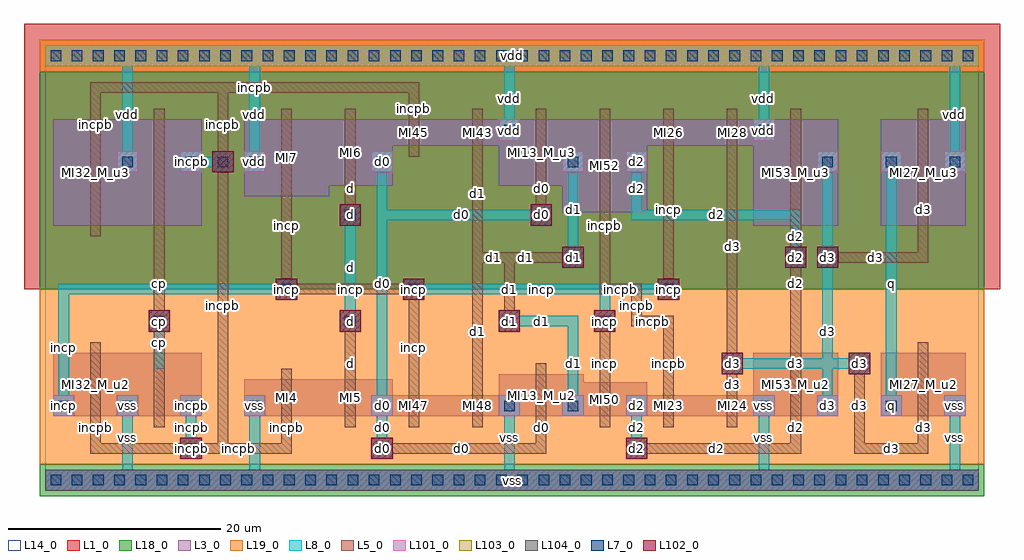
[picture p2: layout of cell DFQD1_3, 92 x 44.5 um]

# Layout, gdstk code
import gdstk
lib = gdstk.Library(unit=1e-6, precision=1e-09)
def R(c, l, rs):  # rectangles x0, y0, x1, y1
    for r in rs: c.add(gdstk.rectangle(r[:2], r[2:], *l))
def A(c, l, x, y, w, h, nx, ny, dx, dy):  # array of equal rectangles
    R(c, l, [(x+i*dx, y+j*dy, x+i*dx+w, y+j*dy+h) for i in range(nx) for j in range(ny)])
L1_0 = (1, 0)
L3_0 = (3, 0)
L5_0 = (5, 0)
L7_0 = (7, 0)
L8_0 = (8, 0)
L13_0 = (13, 0)
L14_0 = (14, 0)
L18_0 = (18, 0)
L19_0 = (19, 0)
L101_0 = (101, 0)
L102_0 = (102, 0)
L103_0 = (103, 0)
L104_0 = (104, 0)

dfqd1_3 = lib.new_cell('DFQD1_3')
R(dfqd1_3, L1_0, [(-2,18,90,43)])
A(dfqd1_3, L3_0, 0.75, 6, 2, 2, 4, 1, 6, 0)
A(dfqd1_3, L3_0, 42.75, 6, 2, 2, 3, 1, 6, 0)
A(dfqd1_3, L3_0, 66.75, 6, 2, 2, 4, 1, 6, 0)
A(dfqd1_3, L3_0, 6.75, 29, 2, 2, 3, 1, 6, 0)
A(dfqd1_3, L3_0, 72.75, 29, 2, 2, 3, 1, 6, 0)
R(dfqd1_3, L3_0, [(0,-1,88,1), (0,-1,88,1), (0.75,6,8.75,12), (6.75,6,14.75,12), (18.75,6,26.75,9.5), (24.75,6,32.75,9.5), (30.75,6,38.75,8), (30.75,6,32.75,8), (36.75,6,44.75,8), (42.75,6,50.75,10), (48.75,6,56.75,9.25), (54.75,6,62.75,8), (60.75,6,68.75,8), (66.75,6,74.75,12), (78.75,6,86.75,12), (0.75,24,8.75,34), (6.75,24,14.75,34), (66.75,24,74.75,34), (78.75,24,86.75,34), (48.75,25.25,56.75,34), (18.75,26.75,26.75,34), (24.75,27.75,32.75,34), (42.75,27.75,50.75,34), (30.75,29,32.75,31), (48.75,29,50.75,31), (54.75,29,56.75,31), (30.75,31.5,38.75,34), (36.75,31.5,44.75,34), (54.75,31.5,62.75,34), (60.75,31.5,68.75,34), (42.75,32,44.75,34), (66.75,32,68.75,34), (0,39,88,41), (0,39,88,41)])
A(dfqd1_3, L5_0, 22.25, 2.5, 1, 5, 3, 1, 24, 0)
R(dfqd1_3, L5_0, [(12.75,2,14.75,4), (30.75,2,32.75,4), (54.75,2,56.75,4), (4.25,2.5,5.25,7.5), (4.25,2.5,17.25,3.5), (13.25,2.5,23.25,3.5), (16.25,2.5,17.25,30.5), (31.25,2.5,47.25,3.5), (55.25,2.5,71.25,3.5), (76.25,2.5,77.25,11.5), (76.25,2.5,83.25,3.5), (82.25,2.5,83.25,7.5), (4.25,5,5.25,13), (10.25,5,11.25,13), (22.25,5,23.25,10.5), (28.25,5,29.25,10.5), (34.25,5,35.25,9), (40.25,5,41.25,9), (46.25,5,47.25,11), (52.25,5,53.25,10.25), (58.25,5,59.25,9), (64.25,5,65.25,9), (70.25,5,71.25,13), (82.25,5,83.25,13), (10.25,6.5,11.25,30.5), (28.25,6.5,29.25,15.5), (34.25,6.5,35.25,18.5), (40.25,6.5,41.25,21.5), (52.25,6.5,53.25,15.5), (58.25,6.5,59.25,15.5), (64.25,6.5,65.25,11.5), (70.25,6.5,71.25,30.5), (63.75,10,65.75,12), (75.75,10,77.75,12), (64.25,10.5,65.25,33.5), (9.75,14,11.75,16), (27.75,14,29.75,16), (42.75,14,44.75,16), (51.75,14,53.75,16), (43.25,14.5,44.25,21.5), (55.25,14.5,56.25,18.5), (55.25,14.5,59.25,15.5), (21.75,17,23.75,19), (33.75,17,35.75,19), (57.75,17,59.75,19), (22.25,17.5,23.25,30.5), (22.25,17.5,35.25,18.5), (52.25,17.5,56.25,18.5), (52.25,17.5,53.25,30.5), (58.25,17.5,59.25,33.5), (48.75,20,50.75,22), (69.75,20,71.75,22), (72.75,20,74.75,22), (40.25,20.5,50.25,21.5), (40.25,20.5,44.25,21.5), (40.25,20.5,41.25,33.5), (73.25,20.5,83.25,21.5), (82.25,20.5,83.25,30.5), (4.25,23,5.25,35), (10.25,23,11.25,35), (70.25,23,71.25,35), (82.25,23,83.25,35), (27.75,24,29.75,26), (45.75,24,47.75,26), (52.25,24.25,53.25,35), (28.25,24.5,29.25,30.5), (46.25,24.5,47.25,30.5), (22.25,25.75,23.25,35), (28.25,26.75,29.25,35), (46.25,26.75,47.25,35), (15.75,29,17.75,31), (4.25,29.5,5.25,37.5), (16.25,29.5,17.25,37.5), (34.25,30.5,35.25,35), (40.25,30.5,41.25,35), (58.25,30.5,59.25,35), (64.25,30.5,65.25,35), (34.25,32.5,35.25,37.5), (4.25,36.5,35.25,37.5)])
A(dfqd1_3, L7_0, 0.5, -0.5, 1, 1, 44, 2, 2, 40)
A(dfqd1_3, L7_0, 1.25, 6.5, 1, 1, 4, 1, 6, 0)
A(dfqd1_3, L7_0, 43.25, 6.5, 1, 1, 3, 1, 6, 0)
A(dfqd1_3, L7_0, 67.25, 6.5, 1, 1, 4, 1, 6, 0)
A(dfqd1_3, L7_0, 13.25, 29.5, 1, 1, 3, 1, 3, 0)
A(dfqd1_3, L7_0, 73.25, 29.5, 1, 1, 3, 1, 6, 0)
R(dfqd1_3, L7_0, [(13.25,2.5,14.25,3.5), (31.25,2.5,32.25,3.5), (55.25,2.5,56.25,3.5), (31.25,6.5,32.25,7.5), (64.25,10.5,65.25,11.5), (76.25,10.5,77.25,11.5), (10.25,14.5,11.25,15.5), (28.25,14.5,29.25,15.5), (43.25,14.5,44.25,15.5), (52.25,14.5,53.25,15.5), (22.25,17.5,23.25,18.5), (34.25,17.5,35.25,18.5), (58.25,17.5,59.25,18.5), (49.25,20.5,50.25,21.5), (70.25,20.5,71.25,21.5), (73.25,20.5,74.25,21.5), (28.25,24.5,29.25,25.5), (46.25,24.5,47.25,25.5), (7.25,29.5,8.25,30.5), (31.25,29.5,32.25,30.5), (49.25,29.5,50.25,30.5), (55.25,29.5,56.25,30.5), (43.25,32.5,44.25,33.5), (67.25,32.5,68.25,33.5)])
A(dfqd1_3, L8_0, 19.25, 0.5, 1, 7, 3, 1, 24, 0)
A(dfqd1_3, L8_0, 0.75, 6, 2, 2, 4, 1, 6, 0)
A(dfqd1_3, L8_0, 42.75, 6, 2, 2, 3, 1, 6, 0)
A(dfqd1_3, L8_0, 66.75, 6, 2, 2, 4, 1, 6, 0)
A(dfqd1_3, L8_0, 12.75, 29, 2, 2, 3, 1, 3, 0)
A(dfqd1_3, L8_0, 72.75, 29, 2, 2, 3, 1, 6, 0)
R(dfqd1_3, L8_0, [(0,-1,88,1), (7.25,0.5,8.25,7.5), (85.25,0.5,86.25,7.5), (12.75,2,14.75,4), (30.75,2,32.75,4), (54.75,2,56.75,4), (13.25,2.5,14.25,7.5), (31.25,2.5,32.25,7.5), (55.25,2.5,56.25,7.5), (30.75,6,32.75,8), (1.25,6.5,2.25,18.5), (31.25,6.5,32.25,30.5), (49.25,6.5,50.25,15.5), (73.25,6.5,74.25,21.5), (79.25,6.5,80.25,30.5), (63.75,10,65.75,12), (75.75,10,77.75,12), (10.25,10.5,11.25,15.5), (64.25,10.5,77.25,11.5), (73.25,10.5,74.25,30.5), (9.75,14,11.75,16), (27.75,14,29.75,16), (42.75,14,44.75,16), (51.75,14,53.75,16), (28.25,14.5,29.25,25.5), (43.25,14.5,50.25,15.5), (52.25,14.5,53.25,18.5), (21.75,17,23.75,19), (33.75,17,35.75,19), (57.75,17,59.75,19), (1.25,17.5,23.25,18.5), (34.25,17.5,59.25,18.5), (48.75,20,50.75,22), (69.75,20,71.75,22), (72.75,20,74.75,22), (49.25,20.5,50.25,30.5), (70.25,20.5,71.25,25.5), (27.75,24,29.75,26), (45.75,24,47.75,26), (31.25,24.5,47.25,25.5), (55.25,24.5,71.25,25.5), (55.25,24.5,56.25,30.5), (6.75,29,8.75,31), (30.75,29,32.75,31), (48.75,29,50.75,31), (54.75,29,56.75,31), (7.25,29.5,8.25,39.5), (13.25,29.5,17.25,30.5), (19.25,29.5,20.25,39.5), (85.25,29.5,86.25,39.5), (42.75,32,44.75,34), (66.75,32,68.75,34), (43.25,32.5,44.25,39.5), (67.25,32.5,68.25,39.5), (0,39,88,41)])
R(dfqd1_3, L14_0, [(0,0,88,40)])
R(dfqd1_3, L18_0, [(-0.5,-1.5,88.5,1.5), (-0.5,18,88.5,38.5)])
R(dfqd1_3, L19_0, [(-0.5,1.5,88.5,18), (-0.5,38.5,88.5,41.5)])
A(dfqd1_3, L101_0, 0, -1, 2, 2, 44, 2, 2, 40)
A(dfqd1_3, L101_0, 0.75, 6, 2, 2, 4, 1, 6, 0)
A(dfqd1_3, L101_0, 42.75, 6, 2, 2, 3, 1, 6, 0)
A(dfqd1_3, L101_0, 66.75, 6, 2, 2, 4, 1, 6, 0)
A(dfqd1_3, L101_0, 6.75, 29, 2, 2, 3, 1, 6, 0)
A(dfqd1_3, L101_0, 72.75, 29, 2, 2, 3, 1, 6, 0)
R(dfqd1_3, L101_0, [(30.75,6,32.75,8), (30.75,29,32.75,31), (48.75,29,50.75,31), (54.75,29,56.75,31), (42.75,32,44.75,34), (66.75,32,68.75,34)])
R(dfqd1_3, L102_0, [(12.75,2,14.75,4), (30.75,2,32.75,4), (54.75,2,56.75,4), (63.75,10,65.75,12), (75.75,10,77.75,12), (9.75,14,11.75,16), (27.75,14,29.75,16), (42.75,14,44.75,16), (51.75,14,53.75,16), (21.75,17,23.75,19), (33.75,17,35.75,19), (57.75,17,59.75,19), (48.75,20,50.75,22), (69.75,20,71.75,22), (72.75,20,74.75,22), (27.75,24,29.75,26), (45.75,24,47.75,26), (15.75,29,17.75,31)])
R(dfqd1_3, L103_0, [(0,39,88,41)])
R(dfqd1_3, L104_0, [(0,-1,88,1)])
dfqd1_3.add(gdstk.FlexPath([(0.75,3),(86.75,3)], 0, ends="flush", simple_path=True, layer=13, datatype=0))  # L13_0
dfqd1_3.add(gdstk.FlexPath([(0.75,7),(86.75,7)], 0, ends="flush", simple_path=True, layer=13, datatype=0))  # L13_0
dfqd1_3.add(gdstk.FlexPath([(0.75,11),(86.75,11)], 0, ends="flush", simple_path=True, layer=13, datatype=0))  # L13_0
dfqd1_3.add(gdstk.FlexPath([(0.75,15),(86.75,15)], 0, ends="flush", simple_path=True, layer=13, datatype=0))  # L13_0
dfqd1_3.add(gdstk.FlexPath([(0.75,18),(86.75,18)], 0, ends="flush", simple_path=True, layer=13, datatype=0))  # L13_0
dfqd1_3.add(gdstk.FlexPath([(0.75,21),(86.75,21)], 0, ends="flush", simple_path=True, layer=13, datatype=0))  # L13_0
dfqd1_3.add(gdstk.FlexPath([(0.75,25),(86.75,25)], 0, ends="flush", simple_path=True, layer=13, datatype=0))  # L13_0
dfqd1_3.add(gdstk.FlexPath([(0.75,30),(86.75,30)], 0, ends="flush", simple_path=True, layer=13, datatype=0))  # L13_0
dfqd1_3.add(gdstk.FlexPath([(0.75,33),(86.75,33)], 0, ends="flush", simple_path=True, layer=13, datatype=0))  # L13_0
dfqd1_3.add(gdstk.FlexPath([(0.75,37),(86.75,37)], 0, ends="flush", simple_path=True, layer=13, datatype=0))  # L13_0
dfqd1_3.add(gdstk.FlexPath([(1.75,0.5),(1.75,39.5)], 0, ends="flush", simple_path=True, layer=13, datatype=0))  # L13_0
dfqd1_3.add(gdstk.FlexPath([(4.75,0.5),(4.75,39.5)], 0, ends="flush", simple_path=True, layer=13, datatype=0))  # L13_0
dfqd1_3.add(gdstk.FlexPath([(7.75,0.5),(7.75,39.5)], 0, ends="flush", simple_path=True, layer=13, datatype=0))  # L13_0
dfqd1_3.add(gdstk.FlexPath([(10.75,0.5),(10.75,39.5)], 0, ends="flush", simple_path=True, layer=13, datatype=0))  # L13_0
dfqd1_3.add(gdstk.FlexPath([(13.75,0.5),(13.75,39.5)], 0, ends="flush", simple_path=True, layer=13, datatype=0))  # L13_0
dfqd1_3.add(gdstk.FlexPath([(16.75,0.5),(16.75,39.5)], 0, ends="flush", simple_path=True, layer=13, datatype=0))  # L13_0
dfqd1_3.add(gdstk.FlexPath([(19.75,0.5),(19.75,39.5)], 0, ends="flush", simple_path=True, layer=13, datatype=0))  # L13_0
dfqd1_3.add(gdstk.FlexPath([(22.75,0.5),(22.75,39.5)], 0, ends="flush", simple_path=True, layer=13, datatype=0))  # L13_0
dfqd1_3.add(gdstk.FlexPath([(25.75,0.5),(25.75,39.5)], 0, ends="flush", simple_path=True, layer=13, datatype=0))  # L13_0
dfqd1_3.add(gdstk.FlexPath([(28.75,0.5),(28.75,39.5)], 0, ends="flush", simple_path=True, layer=13, datatype=0))  # L13_0
dfqd1_3.add(gdstk.FlexPath([(31.75,0.5),(31.75,39.5)], 0, ends="flush", simple_path=True, layer=13, datatype=0))  # L13_0
dfqd1_3.add(gdstk.FlexPath([(34.75,0.5),(34.75,39.5)], 0, ends="flush", simple_path=True, layer=13, datatype=0))  # L13_0
dfqd1_3.add(gdstk.FlexPath([(37.75,0.5),(37.75,39.5)], 0, ends="flush", simple_path=True, layer=13, datatype=0))  # L13_0
dfqd1_3.add(gdstk.FlexPath([(40.75,0.5),(40.75,39.5)], 0, ends="flush", simple_path=True, layer=13, datatype=0))  # L13_0
dfqd1_3.add(gdstk.FlexPath([(43.75,0.5),(43.75,39.5)], 0, ends="flush", simple_path=True, layer=13, datatype=0))  # L13_0
dfqd1_3.add(gdstk.FlexPath([(46.75,0.5),(46.75,39.5)], 0, ends="flush", simple_path=True, layer=13, datatype=0))  # L13_0
dfqd1_3.add(gdstk.FlexPath([(49.75,0.5),(49.75,39.5)], 0, ends="flush", simple_path=True, layer=13, datatype=0))  # L13_0
dfqd1_3.add(gdstk.FlexPath([(52.75,0.5),(52.75,39.5)], 0, ends="flush", simple_path=True, layer=13, datatype=0))  # L13_0
dfqd1_3.add(gdstk.FlexPath([(55.75,0.5),(55.75,39.5)], 0, ends="flush", simple_path=True, layer=13, datatype=0))  # L13_0
dfqd1_3.add(gdstk.FlexPath([(58.75,0.5),(58.75,39.5)], 0, ends="flush", simple_path=True, layer=13, datatype=0))  # L13_0
dfqd1_3.add(gdstk.FlexPath([(61.75,0.5),(61.75,39.5)], 0, ends="flush", simple_path=True, layer=13, datatype=0))  # L13_0
dfqd1_3.add(gdstk.FlexPath([(64.75,0.5),(64.75,39.5)], 0, ends="flush", simple_path=True, layer=13, datatype=0))  # L13_0
dfqd1_3.add(gdstk.FlexPath([(67.75,0.5),(67.75,39.5)], 0, ends="flush", simple_path=True, layer=13, datatype=0))  # L13_0
dfqd1_3.add(gdstk.FlexPath([(70.75,0.5),(70.75,39.5)], 0, ends="flush", simple_path=True, layer=13, datatype=0))  # L13_0
dfqd1_3.add(gdstk.FlexPath([(73.75,0.5),(73.75,39.5)], 0, ends="flush", simple_path=True, layer=13, datatype=0))  # L13_0
dfqd1_3.add(gdstk.FlexPath([(76.75,0.5),(76.75,39.5)], 0, ends="flush", simple_path=True, layer=13, datatype=0))  # L13_0
dfqd1_3.add(gdstk.FlexPath([(79.75,0.5),(79.75,39.5)], 0, ends="flush", simple_path=True, layer=13, datatype=0))  # L13_0
dfqd1_3.add(gdstk.FlexPath([(82.75,0.5),(82.75,39.5)], 0, ends="flush", simple_path=True, layer=13, datatype=0))  # L13_0
dfqd1_3.add(gdstk.FlexPath([(85.75,0.5),(85.75,39.5)], 0, ends="flush", simple_path=True, layer=13, datatype=0))  # L13_0
dfqd1_3.add(gdstk.Label('MI4', (22.75,7.75), layer=3, texttype=0))
dfqd1_3.add(gdstk.Label('MI23', (58.75,7), layer=3, texttype=0))
dfqd1_3.add(gdstk.Label('MI5', (28.75,7.75), layer=3, texttype=0))
dfqd1_3.add(gdstk.Label('MI47', (34.75,7), layer=3, texttype=0))
dfqd1_3.add(gdstk.Label('MI48', (40.75,7), layer=3, texttype=0))
dfqd1_3.add(gdstk.Label('MI24', (64.75,7), layer=3, texttype=0))
dfqd1_3.add(gdstk.Label('MI50', (52.75,7.625), layer=3, texttype=0))
dfqd1_3.add(gdstk.Label('MI32_M_u2', (4.75,9), layer=3, texttype=0))
dfqd1_3.add(gdstk.Label('MI31_M_u2', (10.75,9), layer=3, texttype=0))
dfqd1_3.add(gdstk.Label('MI27_M_u2', (82.75,9), layer=3, texttype=0))
dfqd1_3.add(gdstk.Label('MI53_M_u2', (70.75,9), layer=3, texttype=0))
dfqd1_3.add(gdstk.Label('MI13_M_u2', (46.75,8), layer=3, texttype=0))
dfqd1_3.add(gdstk.Label('MI6', (28.75,30.875), layer=3, texttype=0))
dfqd1_3.add(gdstk.Label('MI32_M_u3', (4.75,29), layer=3, texttype=0))
dfqd1_3.add(gdstk.Label('MI31_M_u3', (10.75,29), layer=3, texttype=0))
dfqd1_3.add(gdstk.Label('MI27_M_u3', (82.75,29), layer=3, texttype=0))
dfqd1_3.add(gdstk.Label('MI53_M_u3', (70.75,29), layer=3, texttype=0))
dfqd1_3.add(gdstk.Label('MI13_M_u3', (46.75,30.875), layer=3, texttype=0))
dfqd1_3.add(gdstk.Label('MI7', (22.75,30.375), layer=3, texttype=0))
dfqd1_3.add(gdstk.Label('MI52', (52.75,29.625), layer=3, texttype=0))
dfqd1_3.add(gdstk.Label('MI28', (64.75,32.75), layer=3, texttype=0))
dfqd1_3.add(gdstk.Label('MI26', (58.75,32.75), layer=3, texttype=0))
dfqd1_3.add(gdstk.Label('MI45', (34.75,32.75), layer=3, texttype=0))
dfqd1_3.add(gdstk.Label('MI43', (40.75,32.75), layer=3, texttype=0))
dfqd1_3.add(gdstk.Label('incpb', (13.75,7), layer=3, texttype=0))
dfqd1_3.add(gdstk.Label('incpb', (13.75,30), layer=3, texttype=0))
dfqd1_3.add(gdstk.Label('d2', (55.75,7), layer=3, texttype=0))
dfqd1_3.add(gdstk.Label('d2', (55.75,30), layer=3, texttype=0))
dfqd1_3.add(gdstk.Label('d0', (31.75,7), layer=3, texttype=0))
dfqd1_3.add(gdstk.Label('d0', (31.75,30), layer=3, texttype=0))
dfqd1_3.add(gdstk.Label('incp', (1.75,7), layer=3, texttype=0))
dfqd1_3.add(gdstk.Label('d1', (49.75,7), layer=3, texttype=0))
dfqd1_3.add(gdstk.Label('d1', (49.75,30), layer=3, texttype=0))
dfqd1_3.add(gdstk.Label('d3', (73.75,7), layer=3, texttype=0))
dfqd1_3.add(gdstk.Label('d3', (73.75,30), layer=3, texttype=0))
dfqd1_3.add(gdstk.Label('q', (79.75,7), layer=3, texttype=0))
dfqd1_3.add(gdstk.Label('q', (79.75,30), layer=3, texttype=0))
dfqd1_3.add(gdstk.Label('vss', (19.75,7), layer=3, texttype=0))
dfqd1_3.add(gdstk.Label('vss', (43.75,7), layer=3, texttype=0))
dfqd1_3.add(gdstk.Label('vss', (67.75,7), layer=3, texttype=0))
dfqd1_3.add(gdstk.Label('vss', (7.75,7), layer=3, texttype=0))
dfqd1_3.add(gdstk.Label('vss', (85.75,7), layer=3, texttype=0))
dfqd1_3.add(gdstk.Label('vdd', (7.75,30), layer=3, texttype=0))
dfqd1_3.add(gdstk.Label('vdd', (85.75,30), layer=3, texttype=0))
dfqd1_3.add(gdstk.Label('vdd', (67.75,33), layer=3, texttype=0))
dfqd1_3.add(gdstk.Label('vdd', (43.75,33), layer=3, texttype=0))
dfqd1_3.add(gdstk.Label('vdd', (19.75,30), layer=3, texttype=0))
dfqd1_3.add(gdstk.Label('incpb', (22.75,5), layer=5, texttype=0))
dfqd1_3.add(gdstk.Label('incpb', (18.25,3), layer=5, texttype=0))
dfqd1_3.add(gdstk.Label('incpb', (13.75,3), layer=5, texttype=0))
dfqd1_3.add(gdstk.Label('incpb', (16.75,16.5), layer=5, texttype=0))
dfqd1_3.add(gdstk.Label('incpb', (16.75,30), layer=5, texttype=0))
dfqd1_3.add(gdstk.Label('incpb', (58.75,11), layer=5, texttype=0))
dfqd1_3.add(gdstk.Label('incpb', (57.25,15), layer=5, texttype=0))
dfqd1_3.add(gdstk.Label('incpb', (55.75,16.5), layer=5, texttype=0))
dfqd1_3.add(gdstk.Label('incpb', (54.25,18), layer=5, texttype=0))
dfqd1_3.add(gdstk.Label('incpb', (52.75,24), layer=5, texttype=0))
dfqd1_3.add(gdstk.Label('incpb', (4.75,5), layer=5, texttype=0))
dfqd1_3.add(gdstk.Label('incpb', (10.75,3), layer=5, texttype=0))
dfqd1_3.add(gdstk.Label('incpb', (4.75,33.5), layer=5, texttype=0))
dfqd1_3.add(gdstk.Label('incpb', (19.75,37), layer=5, texttype=0))
dfqd1_3.add(gdstk.Label('incpb', (34.75,35), layer=5, texttype=0))
dfqd1_3.add(gdstk.Label('incpb', (16.75,33.5), layer=5, texttype=0))
dfqd1_3.add(gdstk.Label('d2', (55.75,3), layer=5, texttype=0))
dfqd1_3.add(gdstk.Label('d2', (63.25,3), layer=5, texttype=0))
dfqd1_3.add(gdstk.Label('d2', (70.75,5), layer=5, texttype=0))
dfqd1_3.add(gdstk.Label('d2', (70.75,18.5), layer=5, texttype=0))
dfqd1_3.add(gdstk.Label('d2', (70.75,21), layer=5, texttype=0))
dfqd1_3.add(gdstk.Label('d0', (31.75,3), layer=5, texttype=0))
dfqd1_3.add(gdstk.Label('d0', (39.25,3), layer=5, texttype=0))
dfqd1_3.add(gdstk.Label('d0', (46.75,5), layer=5, texttype=0))
dfqd1_3.add(gdstk.Label('d0', (46.75,25), layer=5, texttype=0))
dfqd1_3.add(gdstk.Label('d0', (46.75,27.5), layer=5, texttype=0))
dfqd1_3.add(gdstk.Label('d', (28.75,11), layer=5, texttype=0))
dfqd1_3.add(gdstk.Label('d', (28.75,15), layer=5, texttype=0))
dfqd1_3.add(gdstk.Label('d', (28.75,25), layer=5, texttype=0))
dfqd1_3.add(gdstk.Label('d', (28.75,27.5), layer=5, texttype=0))
dfqd1_3.add(gdstk.Label('incp', (34.75,12.5), layer=5, texttype=0))
dfqd1_3.add(gdstk.Label('incp', (28.75,18), layer=5, texttype=0))
dfqd1_3.add(gdstk.Label('incp', (22.75,24), layer=5, texttype=0))
dfqd1_3.add(gdstk.Label('incp', (34.75,18), layer=5, texttype=0))
dfqd1_3.add(gdstk.Label('incp', (58.75,18), layer=5, texttype=0))
dfqd1_3.add(gdstk.Label('incp', (58.75,25.5), layer=5, texttype=0))
dfqd1_3.add(gdstk.Label('incp', (52.75,11), layer=5, texttype=0))
dfqd1_3.add(gdstk.Label('incp', (52.75,15), layer=5, texttype=0))
dfqd1_3.add(gdstk.Label('incp', (22.75,18), layer=5, texttype=0))
dfqd1_3.add(gdstk.Label('d1', (40.75,14), layer=5, texttype=0))
dfqd1_3.add(gdstk.Label('d1', (45.25,21), layer=5, texttype=0))
dfqd1_3.add(gdstk.Label('d1', (49.75,21), layer=5, texttype=0))
dfqd1_3.add(gdstk.Label('d1', (40.75,27), layer=5, texttype=0))
dfqd1_3.add(gdstk.Label('d1', (43.75,15), layer=5, texttype=0))
dfqd1_3.add(gdstk.Label('d1', (43.75,18), layer=5, texttype=0))
dfqd1_3.add(gdstk.Label('d1', (42.25,21), layer=5, texttype=0))
dfqd1_3.add(gdstk.Label('d3', (64.75,9), layer=5, texttype=0))
dfqd1_3.add(gdstk.Label('d3', (64.75,11), layer=5, texttype=0))
dfqd1_3.add(gdstk.Label('d3', (76.75,11), layer=5, texttype=0))
dfqd1_3.add(gdstk.Label('d3', (76.75,7), layer=5, texttype=0))
dfqd1_3.add(gdstk.Label('d3', (79.75,3), layer=5, texttype=0))
dfqd1_3.add(gdstk.Label('d3', (82.75,5), layer=5, texttype=0))
dfqd1_3.add(gdstk.Label('d3', (64.75,22), layer=5, texttype=0))
dfqd1_3.add(gdstk.Label('d3', (73.75,21), layer=5, texttype=0))
dfqd1_3.add(gdstk.Label('d3', (78.25,21), layer=5, texttype=0))
dfqd1_3.add(gdstk.Label('d3', (82.75,25.5), layer=5, texttype=0))
dfqd1_3.add(gdstk.Label('cp', (10.75,18.5), layer=5, texttype=0))
dfqd1_3.add(gdstk.Label('cp', (10.75,15), layer=5, texttype=0))
dfqd1_3.add(gdstk.Label('incpb', (13.75,7), layer=101, texttype=0))
dfqd1_3.add(gdstk.Label('incpb', (13.75,30), layer=101, texttype=0))
dfqd1_3.add(gdstk.Label('d2', (55.75,7), layer=101, texttype=0))
dfqd1_3.add(gdstk.Label('d2', (55.75,30), layer=101, texttype=0))
dfqd1_3.add(gdstk.Label('d0', (31.75,7), layer=101, texttype=0))
dfqd1_3.add(gdstk.Label('d0', (31.75,30), layer=101, texttype=0))
dfqd1_3.add(gdstk.Label('incp', (1.75,7), layer=101, texttype=0))
dfqd1_3.add(gdstk.Label('d1', (49.75,7), layer=101, texttype=0))
dfqd1_3.add(gdstk.Label('d1', (49.75,30), layer=101, texttype=0))
dfqd1_3.add(gdstk.Label('d3', (73.75,7), layer=101, texttype=0))
dfqd1_3.add(gdstk.Label('d3', (73.75,30), layer=101, texttype=0))
dfqd1_3.add(gdstk.Label('q', (79.75,7), layer=101, texttype=0))
dfqd1_3.add(gdstk.Label('q', (79.75,30), layer=101, texttype=0))
dfqd1_3.add(gdstk.Label('vss', (19.75,7), layer=101, texttype=0))
dfqd1_3.add(gdstk.Label('vss', (43.75,7), layer=101, texttype=0))
dfqd1_3.add(gdstk.Label('vss', (67.75,7), layer=101, texttype=0))
dfqd1_3.add(gdstk.Label('vss', (7.75,7), layer=101, texttype=0))
dfqd1_3.add(gdstk.Label('vss', (85.75,7), layer=101, texttype=0))
dfqd1_3.add(gdstk.Label('vdd', (7.75,30), layer=101, texttype=0))
dfqd1_3.add(gdstk.Label('vdd', (85.75,30), layer=101, texttype=0))
dfqd1_3.add(gdstk.Label('vdd', (67.75,33), layer=101, texttype=0))
dfqd1_3.add(gdstk.Label('vdd', (43.75,33), layer=101, texttype=0))
dfqd1_3.add(gdstk.Label('vdd', (19.75,30), layer=101, texttype=0))
dfqd1_3.add(gdstk.Label('incpb', (13.75,3), layer=102, texttype=0))
dfqd1_3.add(gdstk.Label('incpb', (16.75,30), layer=102, texttype=0))
dfqd1_3.add(gdstk.Label('d2', (55.75,3), layer=102, texttype=0))
dfqd1_3.add(gdstk.Label('d2', (70.75,21), layer=102, texttype=0))
dfqd1_3.add(gdstk.Label('d0', (31.75,3), layer=102, texttype=0))
dfqd1_3.add(gdstk.Label('d0', (46.75,25), layer=102, texttype=0))
dfqd1_3.add(gdstk.Label('d', (28.75,15), layer=102, texttype=0))
dfqd1_3.add(gdstk.Label('d', (28.75,25), layer=102, texttype=0))
dfqd1_3.add(gdstk.Label('incp', (34.75,18), layer=102, texttype=0))
dfqd1_3.add(gdstk.Label('incp', (58.75,18), layer=102, texttype=0))
dfqd1_3.add(gdstk.Label('incp', (52.75,15), layer=102, texttype=0))
dfqd1_3.add(gdstk.Label('incp', (22.75,18), layer=102, texttype=0))
dfqd1_3.add(gdstk.Label('d1', (49.75,21), layer=102, texttype=0))
dfqd1_3.add(gdstk.Label('d1', (43.75,15), layer=102, texttype=0))
dfqd1_3.add(gdstk.Label('d3', (64.75,11), layer=102, texttype=0))
dfqd1_3.add(gdstk.Label('d3', (76.75,11), layer=102, texttype=0))
dfqd1_3.add(gdstk.Label('d3', (73.75,21), layer=102, texttype=0))
dfqd1_3.add(gdstk.Label('cp', (10.75,15), layer=102, texttype=0))
dfqd1_3.add(gdstk.Label('incpb', (13.75,7), layer=8, texttype=0))
dfqd1_3.add(gdstk.Label('incpb', (13.75,30), layer=8, texttype=0))
dfqd1_3.add(gdstk.Label('incpb', (13.75,3), layer=8, texttype=0))
dfqd1_3.add(gdstk.Label('incpb', (13.75,5), layer=8, texttype=0))
dfqd1_3.add(gdstk.Label('incpb', (16.75,30), layer=8, texttype=0))
dfqd1_3.add(gdstk.Label('incpb', (15.25,30), layer=8, texttype=0))
dfqd1_3.add(gdstk.Label('d2', (55.75,7), layer=8, texttype=0))
dfqd1_3.add(gdstk.Label('d2', (55.75,30), layer=8, texttype=0))
dfqd1_3.add(gdstk.Label('d2', (55.75,5), layer=8, texttype=0))
dfqd1_3.add(gdstk.Label('d2', (55.75,3), layer=8, texttype=0))
dfqd1_3.add(gdstk.Label('d2', (70.75,21), layer=8, texttype=0))
dfqd1_3.add(gdstk.Label('d2', (70.75,23), layer=8, texttype=0))
dfqd1_3.add(gdstk.Label('d2', (63.25,25), layer=8, texttype=0))
dfqd1_3.add(gdstk.Label('d2', (55.75,27.5), layer=8, texttype=0))
dfqd1_3.add(gdstk.Label('d0', (31.75,7), layer=8, texttype=0))
dfqd1_3.add(gdstk.Label('d0', (31.75,30), layer=8, texttype=0))
dfqd1_3.add(gdstk.Label('d0', (31.75,5), layer=8, texttype=0))
dfqd1_3.add(gdstk.Label('d0', (31.75,3), layer=8, texttype=0))
dfqd1_3.add(gdstk.Label('d0', (31.75,18.5), layer=8, texttype=0))
dfqd1_3.add(gdstk.Label('d0', (39.25,25), layer=8, texttype=0))
dfqd1_3.add(gdstk.Label('d0', (46.75,25), layer=8, texttype=0))
dfqd1_3.add(gdstk.Label('d', (28.75,15), layer=8, texttype=0))
dfqd1_3.add(gdstk.Label('d', (28.75,20), layer=8, texttype=0))
dfqd1_3.add(gdstk.Label('d', (28.75,25), layer=8, texttype=0))
dfqd1_3.add(gdstk.Label('incp', (1.75,7), layer=8, texttype=0))
dfqd1_3.add(gdstk.Label('incp', (34.75,18), layer=8, texttype=0))
dfqd1_3.add(gdstk.Label('incp', (46.75,18), layer=8, texttype=0))
dfqd1_3.add(gdstk.Label('incp', (58.75,18), layer=8, texttype=0))
dfqd1_3.add(gdstk.Label('incp', (52.75,15), layer=8, texttype=0))
dfqd1_3.add(gdstk.Label('incp', (52.75,16.5), layer=8, texttype=0))
dfqd1_3.add(gdstk.Label('incp', (1.75,12.5), layer=8, texttype=0))
dfqd1_3.add(gdstk.Label('incp', (12.25,18), layer=8, texttype=0))
dfqd1_3.add(gdstk.Label('incp', (22.75,18), layer=8, texttype=0))
dfqd1_3.add(gdstk.Label('d1', (49.75,7), layer=8, texttype=0))
dfqd1_3.add(gdstk.Label('d1', (49.75,30), layer=8, texttype=0))
dfqd1_3.add(gdstk.Label('d1', (49.75,21), layer=8, texttype=0))
dfqd1_3.add(gdstk.Label('d1', (49.75,25.5), layer=8, texttype=0))
dfqd1_3.add(gdstk.Label('d1', (49.75,11), layer=8, texttype=0))
dfqd1_3.add(gdstk.Label('d1', (46.75,15), layer=8, texttype=0))
dfqd1_3.add(gdstk.Label('d1', (43.75,15), layer=8, texttype=0))
dfqd1_3.add(gdstk.Label('d3', (73.75,7), layer=8, texttype=0))
dfqd1_3.add(gdstk.Label('d3', (73.75,30), layer=8, texttype=0))
dfqd1_3.add(gdstk.Label('d3', (64.75,11), layer=8, texttype=0))
dfqd1_3.add(gdstk.Label('d3', (70.75,11), layer=8, texttype=0))
dfqd1_3.add(gdstk.Label('d3', (76.75,11), layer=8, texttype=0))
dfqd1_3.add(gdstk.Label('d3', (73.75,20.5), layer=8, texttype=0))
dfqd1_3.add(gdstk.Label('d3', (73.75,14), layer=8, texttype=0))
dfqd1_3.add(gdstk.Label('d3', (73.75,21), layer=8, texttype=0))
dfqd1_3.add(gdstk.Label('cp', (10.75,15), layer=8, texttype=0))
dfqd1_3.add(gdstk.Label('cp', (10.75,13), layer=8, texttype=0))
dfqd1_3.add(gdstk.Label('q', (79.75,7), layer=8, texttype=0))
dfqd1_3.add(gdstk.Label('q', (79.75,30), layer=8, texttype=0))
dfqd1_3.add(gdstk.Label('q', (79.75,18.5), layer=8, texttype=0))
dfqd1_3.add(gdstk.Label('vss', (19.75,7), layer=8, texttype=0))
dfqd1_3.add(gdstk.Label('vss', (19.75,4), layer=8, texttype=0))
dfqd1_3.add(gdstk.Label('vss', (43.75,7), layer=8, texttype=0))
dfqd1_3.add(gdstk.Label('vss', (43.75,4), layer=8, texttype=0))
dfqd1_3.add(gdstk.Label('vss', (67.75,7), layer=8, texttype=0))
dfqd1_3.add(gdstk.Label('vss', (67.75,4), layer=8, texttype=0))
dfqd1_3.add(gdstk.Label('vss', (7.75,7), layer=8, texttype=0))
dfqd1_3.add(gdstk.Label('vss', (7.75,4), layer=8, texttype=0))
dfqd1_3.add(gdstk.Label('vss', (85.75,7), layer=8, texttype=0))
dfqd1_3.add(gdstk.Label('vss', (85.75,4), layer=8, texttype=0))
dfqd1_3.add(gdstk.Label('vdd', (7.75,30), layer=8, texttype=0))
dfqd1_3.add(gdstk.Label('vdd', (7.75,34.5), layer=8, texttype=0))
dfqd1_3.add(gdstk.Label('vdd', (85.75,30), layer=8, texttype=0))
dfqd1_3.add(gdstk.Label('vdd', (85.75,34.5), layer=8, texttype=0))
dfqd1_3.add(gdstk.Label('vdd', (67.75,33), layer=8, texttype=0))
dfqd1_3.add(gdstk.Label('vdd', (67.75,36), layer=8, texttype=0))
dfqd1_3.add(gdstk.Label('vdd', (43.75,33), layer=8, texttype=0))
dfqd1_3.add(gdstk.Label('vdd', (43.75,36), layer=8, texttype=0))
dfqd1_3.add(gdstk.Label('vdd', (19.75,30), layer=8, texttype=0))
dfqd1_3.add(gdstk.Label('vdd', (19.75,34.5), layer=8, texttype=0))
dfqd1_3.add(gdstk.Label('vss', (44,0), layer=8, texttype=0))
dfqd1_3.add(gdstk.Label('vdd', (44,40), layer=8, texttype=0))

lib.write_gds('DFQD1_3.gds')
